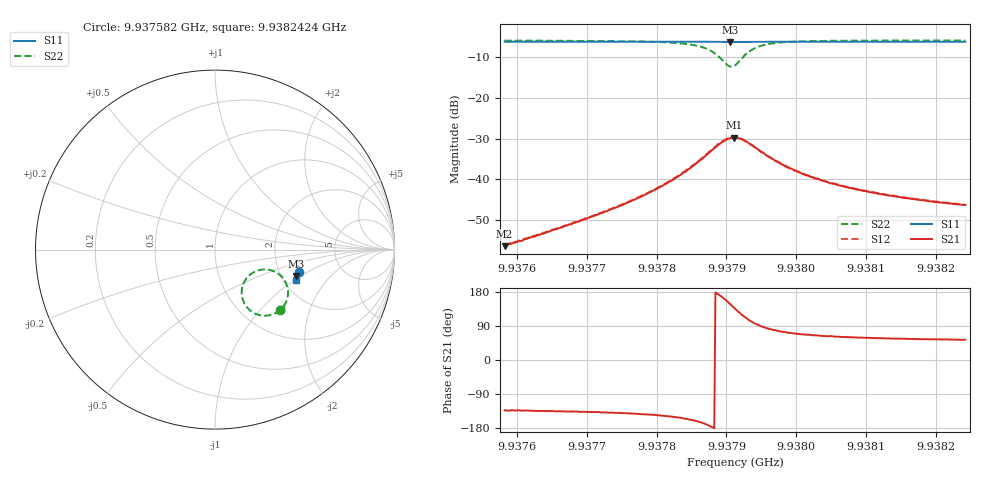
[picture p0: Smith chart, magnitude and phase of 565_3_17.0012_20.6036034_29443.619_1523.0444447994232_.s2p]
#  HZ  S  RI  R  50.00
! Rohde & Schwarz Vector Network Analyzer
! Rohde-Schwarz,ZNB20-2Port,1311601062101988,3.16
! Created: UTC 3/20/2024, 11:17:23 PM
! freq[Hz]  re:S11  im:S11  re:S21  im:S21  re:S12  im:S12  re:S22  im:S22
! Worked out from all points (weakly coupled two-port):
!   401 points, 9.937582 GHz to 9.9382424 GHz, reference 50 ohm
!   highest |S21| = -29.76 dB at 9.9379106 GHz (marker M1); lowest = -56.3 dB at 9.937582 GHz (marker M2)
!   lowest |S11| = -6.4 dB at 9.9379056 GHz (marker M3), VSWR 2.82, Z = 121 - j45.8 ohm
!   |S11| at or under -10 dB: nowhere
!   |S22| runs from -12.5 to -6.1 dB; largest |S21 - S12| = 0.0015
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9.93758202e9  0.4655 -0.1269  -0.00105 -0.00112  -0.00108 -0.00114  0.3639 -0.3364
9.93769263e9  0.4628 -0.1343  -0.00233 -0.00216  -0.00239 -0.00217  0.3472 -0.3485
9.93774877e9  0.4612 -0.1382  -0.00368 -0.00312  -0.00379 -0.0031  0.332 -0.3565
9.93780325e9  0.4597 -0.1419  -0.00662 -0.00447  -0.00679 -0.00439  0.3044 -0.3656
9.93783462e9  0.4584 -0.1441  -0.0102 -0.00527  -0.0105 -0.0052  0.2729 -0.3683
9.93786764e9  0.4569 -0.1464  -0.0183 -0.0041  -0.0187 -0.00373  0.2089 -0.3483
9.93788085e9  0.4557 -0.1467  -0.0233 -0.000658  -0.0239 -0.000141  0.1722 -0.3139
9.9378924e9  0.4546 -0.1469  -0.0275 0.00577  -0.028 0.0068  0.1494 -0.2555
9.93790066e9  0.4543 -0.1467  -0.0281 0.0129  -0.0283 0.0141  0.1551 -0.1985
9.93790561e9  0.454 -0.1465  -0.0269 0.0174  -0.0268 0.0187  0.1723 -0.1647
9.93791057e9  0.4542 -0.1462  -0.0243 0.0216  -0.0241 0.0228  0.1996 -0.1365
9.93791222e9  0.4543 -0.1463  -0.023 0.0227  -0.0227 0.024  0.2105 -0.1291
9.93792047e9  0.4547 -0.146  -0.0164 0.0267  -0.0156 0.0276  0.2695 -0.1105
9.93793203e9  0.4555 -0.1465  -0.00752 0.0267  -0.0067 0.027  0.339 -0.1256
9.93794854e9  0.4562 -0.1481  -2.56e-05 0.0221  0.000612 0.0223  0.3885 -0.1735
9.93796505e9  0.4562 -0.1495  0.00284 0.0177  0.00341 0.0177  0.4041 -0.2132
9.93798651e9  0.4558 -0.1514  0.00412 0.0135  0.0045 0.0137  0.4067 -0.2476
9.93802283e9  0.4551 -0.154  0.00451 0.0097  0.00466 0.00967  0.4005 -0.2802
9.93807402e9  0.4537 -0.1578  0.00396 0.00694  0.00413 0.00696  0.3905 -0.3031
9.93813345e9  0.4521 -0.1617  0.0035 0.00533  0.00362 0.00535  0.3814 -0.3178
9.93819949e9  0.4504 -0.166  0.00308 0.00433  0.00319 0.00434  0.3736 -0.3282
9.93824242e9  0.4491 -0.169  0.0029 0.00394  0.00303 0.00389  0.3694 -0.3335
